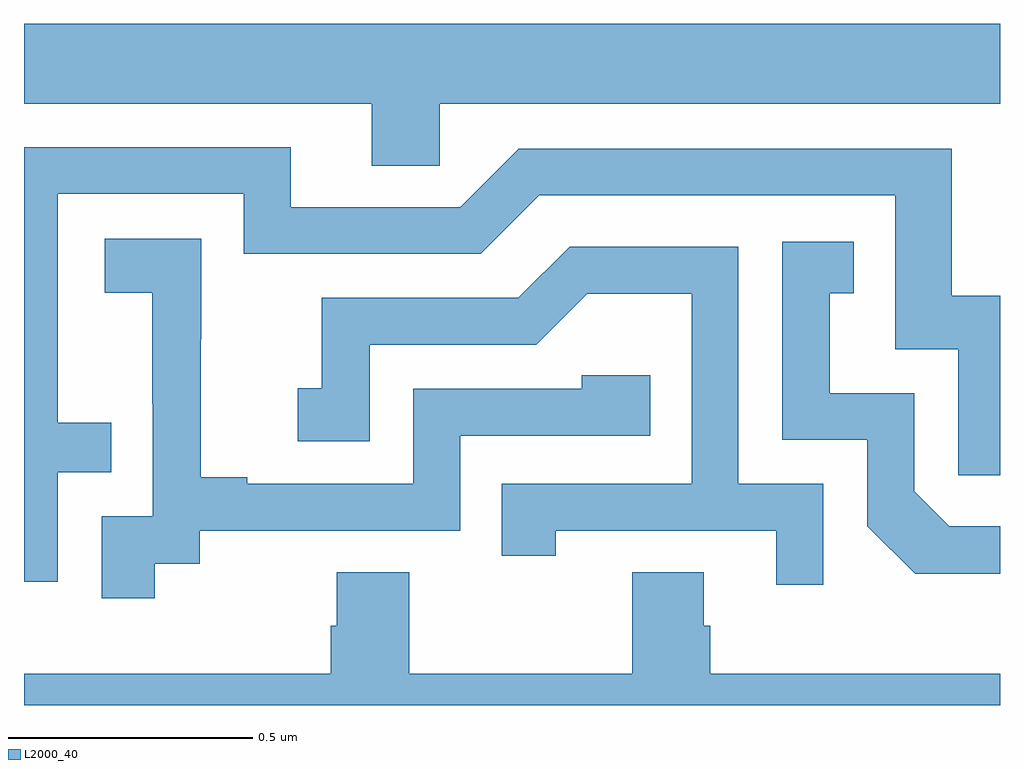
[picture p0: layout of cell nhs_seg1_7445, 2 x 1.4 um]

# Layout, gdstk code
import gdstk
lib = gdstk.Library(unit=1e-6, precision=1e-09)
def P(c, l, *ps):  # polygons
    for p in ps: c.add(gdstk.Polygon(p, *l))
L2000_40 = (2000, 40)

nhs_seg1_7445 = lib.new_cell('nhs_seg1_7445')
P(nhs_seg1_7445, L2000_40, [(204.852,518.432),(206,518.432),(206,518.596),(204,518.596),(204,518.432),(204.713,518.432),(204.713,518.305),(204.852,518.305)],
  [(204.069,517.677),(204.179,517.677),(204.179,517.778),(204.069,517.778),(204.069,518.247),(204.45,518.247),(204.45,518.124),(204.936,518.124),(205.056,518.244),(205.785,518.244),(205.785,517.929),(205.914,517.929),(205.914,517.671),(206,517.671),(206,518.038),(205.901,518.038),(205.901,518.34),(205.014,518.34),(204.894,518.22),(204.547,518.22),(204.547,518.343),(204,518.343),(204,517.452),(204.069,517.452)],
  [(204.268,517.489),(204.36,517.489),(204.36,517.557),(204.894,517.557),(204.894,517.752),(205.283,517.752),(205.283,517.875),(205.143,517.875),(205.143,517.848),(204.798,517.848),(204.798,517.653),(204.457,517.653),(204.457,517.666),(204.362,517.666),(204.362,517.949),(204.363,517.949),(204.363,518.155),(204.165,518.155),(204.165,518.045),(204.263,518.045),(204.263,517.817),(204.264,517.817),(204.264,517.587),(204.159,517.587),(204.159,517.419),(204.268,517.419)],
  [(206,517.566),(205.896,517.566),(205.824,517.638),(205.824,517.839),(205.651,517.839),(205.651,518.043),(205.7,518.043),(205.7,518.149),(205.554,518.149),(205.554,517.743),(205.728,517.743),(205.728,517.566),(205.826,517.469),(206,517.469)],
  [(205.638,517.653),(205.464,517.653),(205.464,518.139),(205.118,518.139),(205.013,518.034),(204.61,518.034),(204.61,517.849),(204.561,517.849),(204.561,517.74),(204.708,517.74),(204.708,517.938),(205.05,517.938),(205.154,518.042),(205.368,518.042),(205.368,517.653),(204.979,517.653),(204.979,517.506),(205.09,517.506),(205.09,517.557),(205.541,517.557),(205.541,517.446),(205.638,517.446)],
  [(206,517.264),(205.406,517.264),(205.406,517.362),(205.393,517.362),(205.393,517.472),(205.246,517.472),(205.246,517.264),(204.789,517.264),(204.789,517.472),(204.641,517.472),(204.641,517.362),(204.629,517.362),(204.629,517.264),(204,517.264),(204,517.199),(206,517.199)])

lib.write_gds('nhs_seg1_7445.gds')
